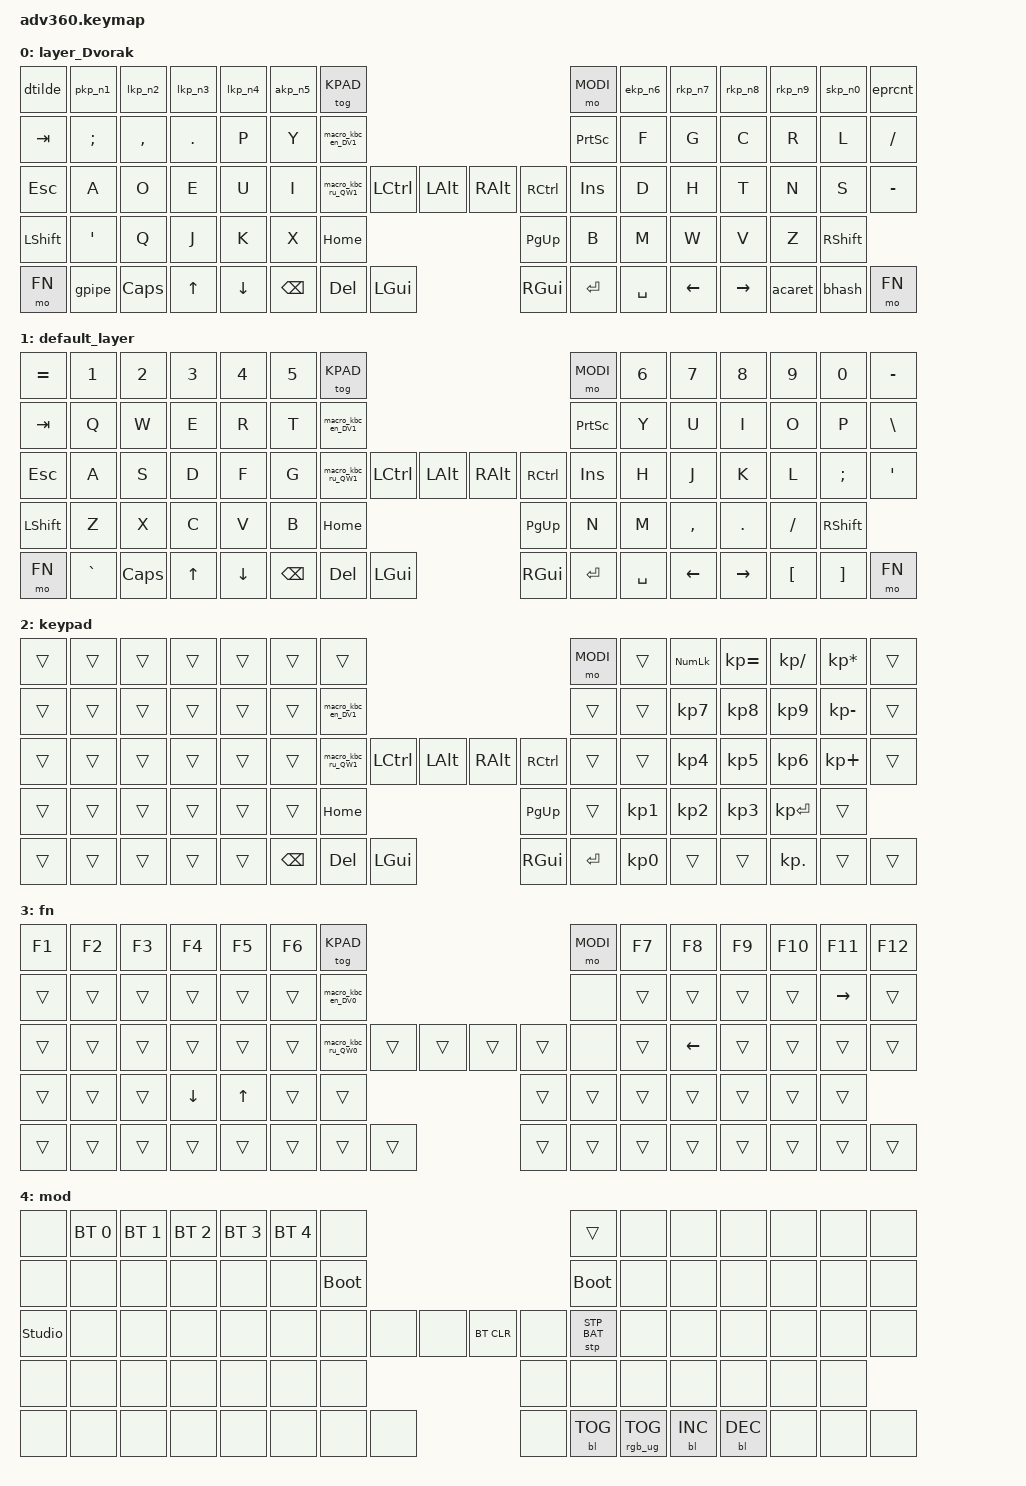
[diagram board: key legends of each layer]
#include <behaviors.dtsi>
#include <dt-bindings/zmk/keys.h>
#include <dt-bindings/zmk/bt.h>
#include <dt-bindings/zmk/rgb.h>
#include <dt-bindings/zmk/stp.h>
#include <dt-bindings/zmk/backlight.h>
#include <dt-bindings/zmk/pointing.h>
#define DVO 0
#define QWE 1
#define KPAD 2
#define FN 3
#define MODI 4
#ifndef CONFIG_ZMK_MACRO_DEFAULT_WAIT_MS
#define CONFIG_ZMK_MACRO_DEFAULT_WAIT_MS 8
#endif
#ifndef CONFIG_ZMK_MACRO_DEFAULT_TAP_MS
#define CONFIG_ZMK_MACRO_DEFAULT_TAP_MS
#endif

/ {
    macros {
      macro_kbc_en_DV0: macro_keyboard_change_ed {
        compatible = "zmk,behavior-macro";
        #binding-cells = <0>;
        bindings       = <&macro_tap &to DVO>
					   , <&macro_press   &kp LCTL>
					   , <&macro_press   &kp LSHIFT>
                       , <&macro_tap     &kp N1>
					   , <&macro_release &kp LSHIFT>
                       , <&macro_release &kp LCTL>;
      };
      macro_kbc_ru_QW0: macro_keyboard_change_rd {
        compatible = "zmk,behavior-macro";
        #binding-cells = <0>;
        bindings       = <&macro_tap &to QWE>
					   , <&macro_press   &kp LCTL>
					   , <&macro_press   &kp LSHIFT>
                       , <&macro_tap     &kp N2>
					   , <&macro_release &kp LSHIFT>
                       , <&macro_release &kp LCTL>;
      };
      macro_kbc_en_DV1: macro_keyboard_change_eq {
        compatible = "zmk,behavior-macro";
        #binding-cells = <0>;
        bindings       = <&macro_tap &to DVO>
					   , <&macro_press   &kp LGUI>
                       , <&macro_press   &kp LALT>
                       , <&macro_tap     &kp D>
                       , <&macro_release &kp LALT>
					   , <&macro_release &kp LGUI>;
      };
      macro_kbc_ru_QW1: macro_keyboard_change_rq {
        compatible = "zmk,behavior-macro";
        #binding-cells = <0>;
        bindings       = <&macro_tap &to QWE>
					   , <&macro_press   &kp LGUI>
                       , <&macro_press   &kp LALT>
                       , <&macro_tap     &kp O>
                       , <&macro_release &kp LALT>
                       , <&macro_release &kp LGUI>;
      };
macro_plus: macro_plus {
    compatible = "zmk,behavior-macro";
    #binding-cells = <0>;
    wait-ms = <40>;
    tap-ms = <40>;
    bindings = <&macro_press &kp LSHIFT>
               , <&macro_tap &kp EQUAL>
               , <&macro_release &kp LSHIFT>;
};
macro_lbrace: macro_lbrace {
    compatible = "zmk,behavior-macro";
    #binding-cells = <0>;
    wait-ms = <40>;
    tap-ms = <40>;
    bindings = <&macro_press &kp LSHIFT>
               , <&macro_tap &kp LEFT_BRACKET>
               , <&macro_release &kp LSHIFT>;
};
macro_lparen: macro_lparen {
    compatible = "zmk,behavior-macro";
    #binding-cells = <0>;
    wait-ms = <40>;
    tap-ms = <40>;
    bindings = <&macro_press &kp LSHIFT>
               , <&macro_tap &kp N9>
               , <&macro_release &kp LSHIFT>;
};
macro_amps: macro_amps {
    compatible = "zmk,behavior-macro";
    #binding-cells = <0>;
    wait-ms = <40>;
    tap-ms = <40>;
    bindings = <&macro_press &kp LSHIFT>
               , <&macro_tap &kp N7>
               , <&macro_release &kp LSHIFT>;
};
macro_rparen: macro_rparen {
    compatible = "zmk,behavior-macro";
    #binding-cells = <0>;
    wait-ms = <40>;
    tap-ms = <40>;
    bindings = <&macro_press &kp LSHIFT>
               , <&macro_tap &kp N0>
               , <&macro_release &kp LSHIFT>;
};
macro_rbrace: macro_rbrace {
    compatible = "zmk,behavior-macro";
    #binding-cells = <0>;
    wait-ms = <40>;
    tap-ms = <40>;
    bindings = <&macro_press &kp LSHIFT>
               , <&macro_tap &kp RIGHT_BRACKET>
               , <&macro_release &kp LSHIFT>;
};
macro_asterisk: macro_asterisk {
    compatible = "zmk,behavior-macro";
    #binding-cells = <0>;
    wait-ms = <40>;
    tap-ms = <40>;
    bindings = <&macro_press &kp LSHIFT>
               , <&macro_tap &kp N8>
               , <&macro_release &kp LSHIFT>;
};
    };
    behaviors {
      	#include "macros.dtsi"
      	#include "version.dtsi"
      	
	gpipe: grave_pipe {
	    compatible = "zmk,behavior-mod-morph";
	    label = "grave_pipe";
	    #binding-cells = <0>;
	    bindings = <&kp GRAVE>, <&kp PIPE>;
	    mods = <(MOD_LSFT|MOD_RSFT)>;
	};
	bpipe: bslash_pipe {
	    compatible = "zmk,behavior-mod-morph";
	    label = "bslash_pipe";
	    #binding-cells = <0>;
	    bindings = <&kp BSLH>, <&kp PIPE>;
	    mods = <(MOD_LSFT|MOD_RSFT)>;
	};
pkp_n1: plus_kp_n1 {
    compatible = "zmk,behavior-mod-morph";
    label = "plus_kp_n1";
    #binding-cells = <0>;
    bindings = <&macro_plus>, <&kp N1>;
    mods = <(MOD_LSFT|MOD_RSFT)>;
};

	lkp_n2: left_bracket_kp_n2 {
	    compatible = "zmk,behavior-mod-morph";
	    label = "left_bracket_kp_n2";
	    #binding-cells = <0>;
	    bindings = <&kp LEFT_BRACKET>, <&kp N2>;
	    mods = <(MOD_LSFT|MOD_RSFT)>;
	};
	lkp_n3: left_brace_kp_n3 {
	    compatible = "zmk,behavior-mod-morph";
	    label = "left_brace_kp_n3";
	    #binding-cells = <0>;
        bindings = <&macro_lbrace>, <&kp N3>;
        mods = <(MOD_LSFT|MOD_RSFT)>;
	};
	lkp_n4: left_parenthesis_kp_n4 {
	    compatible = "zmk,behavior-mod-morph";
	    label = "left_parenthesis_kp_n4";
	    #binding-cells = <0>;
        bindings = <&macro_lparen>, <&kp N4>;
        mods = <(MOD_LSFT|MOD_RSFT)>;
	};
	akp_n5: amps_kp_n5 {
	    compatible = "zmk,behavior-mod-morph";
	    label = "amps_kp_n5";
	    #binding-cells = <0>;
        bindings = <&macro_amps>, <&kp N5>;
        mods = <(MOD_LSFT|MOD_RSFT)>;
	};
	ekp_n6: equal_kp_n6 {
	    compatible = "zmk,behavior-mod-morph";
	    label = "equal_kp_n6";
	    #binding-cells = <0>;
	    bindings = <&kp EQUAL>, <&kp N6>;
	    mods = <(MOD_LSFT|MOD_RSFT)>;
	};
	rkp_n7: right_parenthesis_kp_n7 {
	    compatible = "zmk,behavior-mod-morph";
	    label = "right_parenthesis_kp_n7";
	    #binding-cells = <0>;
        bindings = <&macro_rparen>, <&kp N7>;
        mods = <(MOD_LSFT|MOD_RSFT)>;
	};
	rkp_n8: right_brace_kp_n8 {
	    compatible = "zmk,behavior-mod-morph";
	    label = "right_brace_kp_n8";
	    #binding-cells = <0>;
        bindings = <&macro_rbrace>, <&kp N8>;
        mods = <(MOD_LSFT|MOD_RSFT)>;
	};
	rkp_n9: right_bracket_kp_n9 {
	    compatible = "zmk,behavior-mod-morph";
	    label = "right_bracket_kp_n9";
	    #binding-cells = <0>;
	    bindings = <&kp RIGHT_BRACKET>, <&kp N9>;
	    mods = <(MOD_LSFT|MOD_RSFT)>;
	};
	skp_n0: star_kp_n0 {
	    compatible = "zmk,behavior-mod-morph";
	    label = "star_kp_n0";
	    #binding-cells = <0>;
        bindings = <&macro_asterisk>, <&kp N0>;
        mods = <(MOD_LSFT|MOD_RSFT)>;
	};
	eprcnt: excl_prcnt {
	    compatible = "zmk,behavior-mod-morph";
	    label = "excl_prcnt";
	    #binding-cells = <0>;
	    bindings = <&kp EXCL>, <&kp PRCNT>;
	    mods = <(MOD_LSFT|MOD_RSFT)>;
	};
	dtilde: dllr_tilde {
	    compatible = "zmk,behavior-mod-morph";
	    label = "dllr_tilde";
	    #binding-cells = <0>;
	    bindings = <&kp DLLR>, <&kp TILDE>;
	    mods = <(MOD_LSFT|MOD_RSFT)>;
	};
	ggrave: grave_grave {
	    compatible = "zmk,behavior-mod-morph";
	    label = "grave_grave";
	    #binding-cells = <0>;
	    bindings = <&kp GRAVE>, <&kp GRAVE>;
	    mods = <(MOD_LSFT|MOD_RSFT)>;
	};
	bhash: bslh_hash {
	    compatible = "zmk,behavior-mod-morph";
	    label = "bslh_hash";
	    #binding-cells = <0>;
	    bindings = <&kp BSLH>, <&kp HASH>;
	    mods = <(MOD_LSFT|MOD_RSFT)>;
	};
	acaret: at_caret {
	    compatible = "zmk,behavior-mod-morph";
	    label = "at_caret";
	    #binding-cells = <0>;
	    bindings = <&kp AT>, <&kp CARET>;
	    mods = <(MOD_LSFT|MOD_RSFT)>;
	};
  };

  keymap {
    compatible = "zmk,keymap";
    layer_Dvorak {
      //  ╭────────────────────────────┬────────────────────────────╮
      //  │  0   1   2   3   4   5   6 │  7   8   9  10  11  12  13 │
      //  │ 14  15  16  17  18  19  20 │ 21  22  23  24  25  26  27 │
      //  │ 28  29  30  31  32  33  34 │ 35  36  37  38  39  40  41 │
      //  │ 42  43  44  45  46  47 ╭───┴───╮ 48  49  50  51  52  53 │
      //  │ 54  55  56  57  58╭────╯       ╰────╮59  60  61  62  63 │
      //  ╰───────────────────┼────────┬────────┼───────────────────╯
      //                  ╭───╯ 64  65 │ 66  67 ╰───╮
      //                  │ 68  69  70 │ 71  72  73 │
      //                  ╰───────╮ 74 │ 75 ╭───────╯
      //                          ╰────┴────╯
      //  my dvorak layout
      //   ,--------------------------------------------------.                                           ,--------------------------------------------------.                      
      //   |    $~  |   +1 |   [2 |   {3 |   (4 |   &5 |Tog 2 |                                           | Mod 4|   =6 |   )7 |   }8 |   ]9 |   *0 |   !%   |
      //   |--------+------+------+------+------+------+------|                                           |------+------+------+------+------+------+--------|
      //   |   Tab  |   ;: |   ,< |   .> |   P  |   Y  |Tog 1 |                                           | PSCRN|   F  |   G  |   C  |   R  |   L  |   /?   |
      //   |--------+------+------+------+------+------+------|       ,-----+-----.  ,-----+-----.        |------+------+------+------+------+------+--------|
      //   |   Esc  |   A  |   O  |   E  |   U  |   I  |Tog 3 |       |L Ctl|L Alt|  |R Alt|R ctl|        | INS  |   D  |   H  |   T  |   N  |   S  |   -_   |
      //   |--------+------+------+------+------+------+------' .-----+-----+-----|  |-----+-----+-----.  '------+------+------+------+------+------+--------|
      //   | L Shift|   '" |   Q  |   J  |   K  |   X  |        |     |Back | Home|  |Pg Up|     |     |         |   B  |   M  |   W  |   V  |   Z  | R Shift|
      //   |--------+------+------+------+------+------'        |Space|Space|-----|  |-----| Del |Enter|         '------+------+------+------+------+--------|
      //   |  FN    |   `| | CAPS |  Up  | Down |               |     |     |L Gui|  |R Gui|     |     |                | Left | Right|   @^ |   \# |  FN    |
      //   `--------+------+------+------+------'               `-----+-----+-----'  `-----+-----+-----'                '------+------+------+------+--------'
      bindings = <
    &dtilde   &pkp_n1   &lkp_n2    &lkp_n3  &lkp_n4  &akp_n5  &tog KPAD                                                                  &mo MODI &ekp_n6   &rkp_n7   &rkp_n8   &rkp_n9   &skp_n0  &eprcnt
	&kp TAB   &kp SEMI   &kp COMMA  &kp DOT  &kp P    &kp Y    &macro_kbc_en_DV1                                                             &kp PSCRN   &kp F     &kp G     &kp C     &kp R     &kp L    &kp FSLH
	&kp ESC   &kp A      &kp O      &kp E    &kp U    &kp I    &macro_kbc_ru_QW1               &kp LCTRL &kp LALT  &kp RALT  &kp RCTRL             &kp INS  &kp D     &kp H     &kp T     &kp N     &kp S    &kp MINUS
	&kp LSHFT  &kp APOS  &kp Q      &kp J    &kp K    &kp X                                     &kp HOME  &kp PG_UP                                &kp B     &kp M     &kp W     &kp V     &kp Z    &kp RSHFT
	&mo FN     &gpipe    &kp CAPS   &kp UP 	 &kp DOWN  	                &kp BKSP  &kp DEL   &kp LGUI   &kp RGUI &kp ENTER  &kp SPACE                     &kp LEFT   &kp RIGHT   &acaret   &bhash   &mo FN
            >;   
        };
    default_layer {
      bindings = <
        &kp EQUAL &kp N1    &kp N2   &kp N3   &kp N4     &kp N5 &tog KPAD                                                        &mo MODI  &kp N6 &kp N7 &kp N8    &kp N9   &kp N0   &kp MINUS
        &kp TAB   &kp Q     &kp W    &kp E    &kp R      &kp T  &macro_kbc_en_DV1                                                   &kp PSCRN    &kp Y  &kp U  &kp I     &kp O    &kp P    &kp BSLH
        &kp ESC   &kp A     &kp S    &kp D    &kp F      &kp G  &macro_kbc_ru_QW1        &kp LCTRL &kp LALT &kp RALT  &kp RCTRL           &kp INS   &kp H  &kp J  &kp K     &kp L    &kp SEMI &kp SQT
        &kp LSHFT &kp Z     &kp X    &kp C    &kp V      &kp B                            &kp HOME &kp PG_UP                               &kp N  &kp M  &kp COMMA &kp DOT  &kp FSLH &kp RSHFT
        &mo FN    &kp GRAVE &kp CAPS &kp UP   &kp DOWN                     &kp BSPC &kp DEL   &kp LGUI  &kp RGUI &kp ENTER &kp SPACE                  &kp LEFT  &kp RIGHT     &kp LBKT &kp RBKT &mo FN
      >;
    };
    keypad {
      bindings = <
        &trans  &trans  &trans  &trans  &trans  &trans  &trans                                                           &mo MODI  &trans  &kp KP_NUM &kp KP_EQUAL &kp KP_DIVIDE &kp KP_MULTIPLY &trans
        &trans  &trans  &trans  &trans  &trans  &trans  &macro_kbc_en_DV1                                                           &trans     &trans  &kp KP_N7  &kp KP_N8    &kp KP_N9     &kp KP_MINUS    &trans
        &trans  &trans  &trans  &trans  &trans  &trans  &macro_kbc_ru_QW1         &kp LCTRL &kp LALT &kp RALT  &kp RCTRL           &trans    &trans  &kp KP_N4  &kp KP_N5    &kp KP_N6     &kp KP_PLUS     &trans 
        &trans  &trans  &trans  &trans  &trans  &trans                            &kp HOME &kp PG_UP                               &trans  &kp KP_N1  &kp KP_N2    &kp KP_N3     &kp KP_ENTER    &trans
        &trans  &trans  &trans  &trans  &trans                  &kp BSPC &kp DEL   &kp LGUI  &kp RGUI &kp ENTER &kp KP_N0                   &trans      &trans        &kp KP_DOT    &trans          &trans
      >;
    };
    fn {
      bindings = <
        &kp F1 &kp F2 &kp F3 &kp F4 &kp F5 &kp F6  &tog KPAD                                       &mo MODI &kp F7 &kp F8 &kp F9 &kp F10 &kp F11 &kp F12
        &trans &trans &trans &trans &trans &trans  &macro_kbc_en_DV0                                           &none    &trans &trans &trans &trans  &kp RIGHT  &trans
        &trans &trans &trans &trans &trans &trans  &macro_kbc_ru_QW0        &trans &trans &trans &trans        &none    &trans &kp LEFT &trans &trans  &trans  &trans
        &trans &trans &trans &kp DOWN &kp UP &trans                      &trans &trans                        &trans &trans &trans &trans  &trans  &trans
        &trans &trans &trans &trans &trans               &trans &trans &trans &trans &trans &trans                 &trans  &trans  &trans  &trans  &trans
      >;
    };
    mod {
      bindings = <
        &none &bt BT_SEL 0 &bt BT_SEL 1 &bt BT_SEL 2 &bt BT_SEL 3 &bt BT_SEL 4 &none                                                                     &trans                 &none        &none        &none        &none &none &none
        &none  &none       &none        &none        &none        &none        &bootloader                                                               &bootloader            &none        &none        &none        &none &none &none
        &studio_unlock &none        &none        &none        &none        &none        &none                   &none &none &bt BT_CLR &none                      &stp STP_BAT &none        &none        &none        &none &none &none
        &none &none        &none        &none        &none   &none                                      &none &none                                                        &none        &none        &none        &none &none &none
        &none &none        &none        &none        &none                                       &none &none &none &none      &bl BL_TOG &rgb_ug RGB_TOG                                     &bl BL_INC   &bl BL_DEC   &none &none &none
      >;
    };
    extra1 { 
      display-name = "Red";    
      status = "reserved";
    };

    extra2 { 
      display-name = "Purple";    
      status = "reserved";
    };

    extra3 { 
      display-name = "Cyan";    
      status = "reserved";
    };

    extra4 { 
      display-name = "Yellow";    
      status = "reserved";
    };
  };
};
